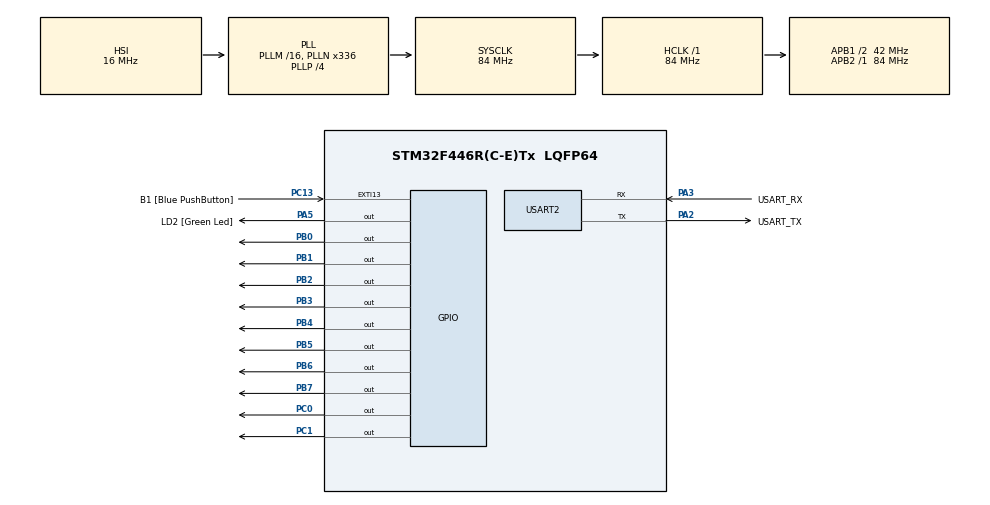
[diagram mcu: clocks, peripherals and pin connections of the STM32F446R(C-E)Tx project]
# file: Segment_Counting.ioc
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Mcu.Family=STM32F4
Mcu.Name=STM32F446R(C-E)Tx
Mcu.Package=LQFP64
NVIC.PriorityGroup=NVIC_PRIORITYGROUP_0
PA13.GPIO_Label=TMS
PA13.Mode=Serial_Wire
PA13.Signal=SYS_JTMS-SWDIO
PA14.GPIO_Label=TCK
PA14.Mode=Serial_Wire
PA14.Signal=SYS_JTCK-SWCLK
PA2.GPIO_Label=USART_TX
PA2.Mode=Asynchronous
PA2.Signal=USART2_TX
PA3.GPIO_Label=USART_RX
PA3.Mode=Asynchronous
PA3.Signal=USART2_RX
PA5.GPIO_Label=LD2 [Green Led]
PA5.Signal=GPIO_Output
PB0.Signal=GPIO_Output
PB1.Signal=GPIO_Output
PB2.Signal=GPIO_Output
PB3.Signal=GPIO_Output
PB4.Signal=GPIO_Output
PB5.Signal=GPIO_Output
PB6.Signal=GPIO_Output
PB7.Signal=GPIO_Output
PC0.Signal=GPIO_Output
PC1.Signal=GPIO_Output
PC13.GPIO_Label=B1 [Blue PushButton]
PC13.GPIO_ModeDefaultEXTI=GPIO_MODE_IT_FALLING
PC13.Signal=GPXTI13
PC14-OSC32_IN.Mode=LSE-External-Oscillator
PC14-OSC32_IN.Signal=RCC_OSC32_IN
PC15-OSC32_OUT.Mode=LSE-External-Oscillator
PC15-OSC32_OUT.Signal=RCC_OSC32_OUT
PH0-OSC_IN.Mode=HSE-External-Oscillator
PH0-OSC_IN.Signal=RCC_OSC_IN
PH1-OSC_OUT.Mode=HSE-External-Oscillator
PH1-OSC_OUT.Signal=RCC_OSC_OUT
ProjectManager.HeapSize=0x200
ProjectManager.StackSize=0x400
ProjectManager.TargetToolchain=STM32CubeIDE
RCC.48MHZClocksFreq_Value=84000000
RCC.AHBFreq_Value=84000000
RCC.APB1CLKDivider=RCC_HCLK_DIV2
RCC.APB1Freq_Value=42000000
RCC.APB1TimFreq_Value=84000000
RCC.APB2Freq_Value=84000000
RCC.APB2TimFreq_Value=84000000
RCC.CortexFreq_Value=84000000
RCC.FLatency-AdvancedSettings=FLASH_LATENCY_2
RCC.HCLKFreq_Value=84000000
RCC.HSE_VALUE=8000000
RCC.HSI_VALUE=16000000
RCC.PLLN=336
RCC.PLLP=RCC_PLLP_DIV4
RCC.SYSCLKFreq_VALUE=84000000
RCC.SYSCLKSource=RCC_SYSCLKSOURCE_PLLCLK
RCC.USBFreq_Value=168000000
RCC.VCOOutputFreq_Value=336000000
USART2.VirtualMode=VM_ASYNC
board=NUCLEO-F446RE

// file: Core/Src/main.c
/* USER CODE BEGIN Header */
/**
  ******************************************************************************
  * @file           : main.c
  * @brief          : Main program body
  ******************************************************************************
  * @attention
  *
  * Copyright (c) 2023 STMicroelectronics.
  * All rights reserved.
  *
  * This software is licensed under terms that can be found in the LICENSE file
  * in the root directory of this software component.
  * If no LICENSE file comes with this software, it is provided AS-IS.
  *
  ******************************************************************************
  */
/* USER CODE END Header */
#include "main.h"

/* USER CODE BEGIN PTD */

typedef union{

	struct{
		uint8_t b0:1;
		uint8_t b1:1;
		uint8_t b2:1;
		uint8_t b3:1;
		uint8_t b4:1;
		uint8_t b5:1;
		uint8_t b6:1;
		uint8_t b7:1;
	};

	uint8_t x;
}Typedef_PINS;

/* USER CODE END PTD */

UART_HandleTypeDef huart2;

/* USER CODE BEGIN PV */

uint8_t counter = 0;
uint8_t loop_counter = 0;
uint8_t Segment_HEX[] = {0x3f,0x06,0x5b,0x4f,0x66,0x6d,0x7d,0x07,0x7f,0x6f};
uint16_t Data_Pins[8];

/* USER CODE END PV */

void SystemClock_Config(void);
static void MX_GPIO_Init(void);
static void MX_USART2_UART_Init(void);
/* USER CODE BEGIN PFP */

void Segment_Update(uint8_t Number);

void Data_Write(uint8_t data){

	Typedef_PINS y = (Typedef_PINS)data;

	HAL_GPIO_WritePin(GPIOB, GPIO_PIN_0, y.b0);
	HAL_GPIO_WritePin(GPIOB, GPIO_PIN_1, y.b1);
	HAL_GPIO_WritePin(GPIOB, GPIO_PIN_2, y.b2);
	HAL_GPIO_WritePin(GPIOB, GPIO_PIN_3, y.b3);
	HAL_GPIO_WritePin(GPIOB, GPIO_PIN_4, y.b4);
	HAL_GPIO_WritePin(GPIOB, GPIO_PIN_5, y.b5);
	HAL_GPIO_WritePin(GPIOB, GPIO_PIN_6, y.b6);
	HAL_GPIO_WritePin(GPIOB, GPIO_PIN_7, y.b7);
}

/* USER CODE END PFP */

int main(void)
{

  /* MCU Configuration--------------------------------------------------------*/

  /* Reset of all peripherals, Initializes the Flash interface and the Systick. */
  HAL_Init();

  /* Configure the system clock */
  SystemClock_Config();

  /* Initialize all configured peripherals */
  MX_GPIO_Init();
  MX_USART2_UART_Init();

  /* Infinite loop */
  /* USER CODE BEGIN WHILE */
  while (1)
  {

	  Segment_Update(23);
//	  Segment_Update(counter);
//	  loop_counter++;
//	  if(loop_counter == 30){
//		  counter++;
//		  if(counter == 100){
//			  counter = 0;
//		  }
//
//		  loop_counter = 0;
//	  }

//	  for(i=0;i<10;i++){
//
//		  for(j=0;j<10;j++){
//
//			  HAL_GPIO_WritePin(GPIOC, GPIO_PIN_0, 0);
//			  HAL_GPIO_WritePin(GPIOC, GPIO_PIN_1, 0);
//
//
//			  Data_Write(Segment_HEX[i]);
//			  HAL_GPIO_WritePin(GPIOC, GPIO_PIN_0, 1);
//			  HAL_Delay(40);
//
//			  HAL_GPIO_WritePin(GPIOC, GPIO_PIN_0, 0);
//			  HAL_GPIO_WritePin(GPIOC, GPIO_PIN_1, 0);
//
//			  Data_Write(Segment_HEX[j]);
//			  HAL_GPIO_WritePin(GPIOC, GPIO_PIN_1, 1);
//			  HAL_Delay(40);
//		  }
//	  }

    /* USER CODE END WHILE */

  }
}

void SystemClock_Config(void)
{
  RCC_OscInitTypeDef RCC_OscInitStruct = {0};
  RCC_ClkInitTypeDef RCC_ClkInitStruct = {0};

  /** Configure the main internal regulator output voltage
  */
  __HAL_RCC_PWR_CLK_ENABLE();
  __HAL_PWR_VOLTAGESCALING_CONFIG(PWR_REGULATOR_VOLTAGE_SCALE3);

  /** Initializes the RCC Oscillators according to the specified parameters
  * in the RCC_OscInitTypeDef structure.
  */
  RCC_OscInitStruct.OscillatorType = RCC_OSCILLATORTYPE_HSI;
  RCC_OscInitStruct.HSIState = RCC_HSI_ON;
  RCC_OscInitStruct.HSICalibrationValue = RCC_HSICALIBRATION_DEFAULT;
  RCC_OscInitStruct.PLL.PLLState = RCC_PLL_ON;
  RCC_OscInitStruct.PLL.PLLSource = RCC_PLLSOURCE_HSI;
  RCC_OscInitStruct.PLL.PLLM = 16;
  RCC_OscInitStruct.PLL.PLLN = 336;
  RCC_OscInitStruct.PLL.PLLP = RCC_PLLP_DIV4;
  RCC_OscInitStruct.PLL.PLLQ = 2;
  RCC_OscInitStruct.PLL.PLLR = 2;
  if (HAL_RCC_OscConfig(&RCC_OscInitStruct) != HAL_OK)
  {
    Error_Handler();
  }

  /** Initializes the CPU, AHB and APB buses clocks
  */
  RCC_ClkInitStruct.ClockType = RCC_CLOCKTYPE_HCLK|RCC_CLOCKTYPE_SYSCLK
                              |RCC_CLOCKTYPE_PCLK1|RCC_CLOCKTYPE_PCLK2;
  RCC_ClkInitStruct.SYSCLKSource = RCC_SYSCLKSOURCE_PLLCLK;
  RCC_ClkInitStruct.AHBCLKDivider = RCC_SYSCLK_DIV1;
  RCC_ClkInitStruct.APB1CLKDivider = RCC_HCLK_DIV2;
  RCC_ClkInitStruct.APB2CLKDivider = RCC_HCLK_DIV1;

  if (HAL_RCC_ClockConfig(&RCC_ClkInitStruct, FLASH_LATENCY_2) != HAL_OK)
  {
    Error_Handler();
  }
}

static void MX_USART2_UART_Init(void)
{

  huart2.Instance = USART2;
  huart2.Init.BaudRate = 115200;
  huart2.Init.WordLength = UART_WORDLENGTH_8B;
  huart2.Init.StopBits = UART_STOPBITS_1;
  huart2.Init.Parity = UART_PARITY_NONE;
  huart2.Init.Mode = UART_MODE_TX_RX;
  huart2.Init.HwFlowCtl = UART_HWCONTROL_NONE;
  huart2.Init.OverSampling = UART_OVERSAMPLING_16;
  if (HAL_UART_Init(&huart2) != HAL_OK)
  {
    Error_Handler();
  }

}

static void MX_GPIO_Init(void)
{
  GPIO_InitTypeDef GPIO_InitStruct = {0};

  /* GPIO Ports Clock Enable */
  __HAL_RCC_GPIOC_CLK_ENABLE();
  __HAL_RCC_GPIOH_CLK_ENABLE();
  __HAL_RCC_GPIOA_CLK_ENABLE();
  __HAL_RCC_GPIOB_CLK_ENABLE();

  /*Configure GPIO pin Output Level */
  HAL_GPIO_WritePin(GPIOC, GPIO_PIN_0|GPIO_PIN_1, GPIO_PIN_RESET);

  /*Configure GPIO pin Output Level */
  HAL_GPIO_WritePin(LD2_GPIO_Port, LD2_Pin, GPIO_PIN_RESET);

  /*Configure GPIO pin Output Level */
  HAL_GPIO_WritePin(GPIOB, GPIO_PIN_0|GPIO_PIN_1|GPIO_PIN_2|GPIO_PIN_3
                          |GPIO_PIN_4|GPIO_PIN_5|GPIO_PIN_6|GPIO_PIN_7, GPIO_PIN_RESET);

  /*Configure GPIO pin : B1_Pin */
  GPIO_InitStruct.Pin = B1_Pin;
  GPIO_InitStruct.Mode = GPIO_MODE_IT_FALLING;
  GPIO_InitStruct.Pull = GPIO_NOPULL;
  HAL_GPIO_Init(B1_GPIO_Port, &GPIO_InitStruct);

  /*Configure GPIO pins : PC0 PC1 */
  GPIO_InitStruct.Pin = GPIO_PIN_0|GPIO_PIN_1;
  GPIO_InitStruct.Mode = GPIO_MODE_OUTPUT_PP;
  GPIO_InitStruct.Pull = GPIO_NOPULL;
  GPIO_InitStruct.Speed = GPIO_SPEED_FREQ_LOW;
  HAL_GPIO_Init(GPIOC, &GPIO_InitStruct);

  /*Configure GPIO pin : LD2_Pin */
  GPIO_InitStruct.Pin = LD2_Pin;
  GPIO_InitStruct.Mode = GPIO_MODE_OUTPUT_PP;
  GPIO_InitStruct.Pull = GPIO_NOPULL;
  GPIO_InitStruct.Speed = GPIO_SPEED_FREQ_LOW;
  HAL_GPIO_Init(LD2_GPIO_Port, &GPIO_InitStruct);

  /*Configure GPIO pins : PB0 PB1 PB2 PB3
                           PB4 PB5 PB6 PB7 */
  GPIO_InitStruct.Pin = GPIO_PIN_0|GPIO_PIN_1|GPIO_PIN_2|GPIO_PIN_3
                          |GPIO_PIN_4|GPIO_PIN_5|GPIO_PIN_6|GPIO_PIN_7;
  GPIO_InitStruct.Mode = GPIO_MODE_OUTPUT_PP;
  GPIO_InitStruct.Pull = GPIO_NOPULL;
  GPIO_InitStruct.Speed = GPIO_SPEED_FREQ_LOW;
  HAL_GPIO_Init(GPIOB, &GPIO_InitStruct);

}

/* USER CODE BEGIN 4 */

void Segment_Update(uint8_t Number){

	uint8_t tens = Number%10;
	uint8_t ones = Number/10;

	HAL_GPIO_WritePin(GPIOC, GPIO_PIN_0, 0);
	HAL_GPIO_WritePin(GPIOC, GPIO_PIN_1, 0);

	Data_Write(Segment_HEX[tens]);

	HAL_GPIO_WritePin(GPIOC, GPIO_PIN_1, 1);
	HAL_Delay(10);

	HAL_GPIO_WritePin(GPIOC, GPIO_PIN_0, 0);
	HAL_GPIO_WritePin(GPIOC, GPIO_PIN_1, 0);

	Data_Write(Segment_HEX[ones]);

	HAL_GPIO_WritePin(GPIOC, GPIO_PIN_0, 1);
	HAL_Delay(10);

}
/* USER CODE END 4 */

void Error_Handler(void)
{
  __disable_irq();
  while (1)
  {
  }
}
